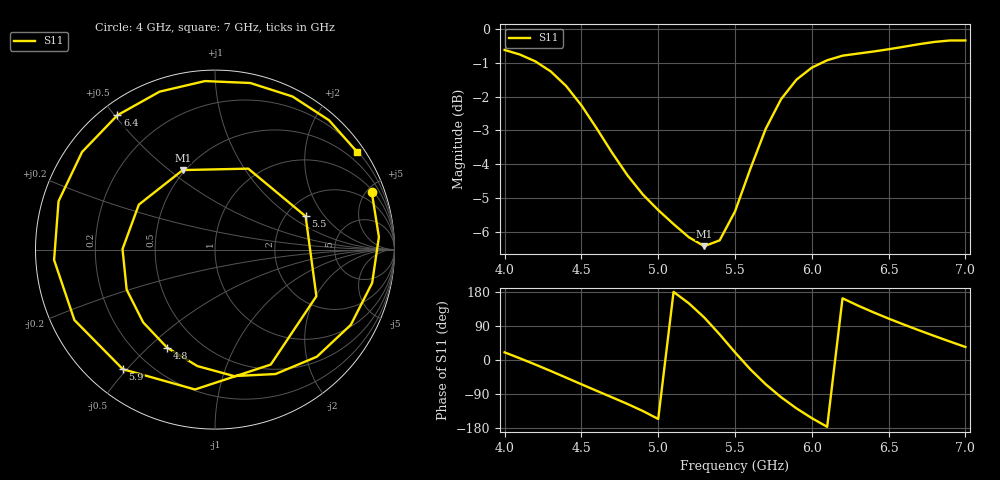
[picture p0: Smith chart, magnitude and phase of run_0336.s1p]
! Touchstone file exported from HFSS 2024.2.0
!  File:  C:/Users/wsak9/Desktop/Sim Fast/Widenad Patch/WP_AI_V1_sweep.aedt
!  Generated:  05:14:31 AM Oct 14, 2026
!  Design:  A1_model
!  Project:  WP_AI_V1_sweep
!  Setup:  Setup1
!  Solution:  Sweep
! Variables:
!  Air_gap = 3.52mm
!  Curve_Amp1 = 0.9
!  Curve_len1 = 1
!  Curve_pos = 11.185mm
!  Extra = 4.05mm
!  H_sub = 0.79mm
!  L_Patch = 18.37mm
!  L_Patch1 = 19.78mm
!  Sx = 3.25mm
!  Sy = 4.71mm
!  WS = 1.34mm
!  W_Patch = 17.28mm
!  W_Patch1 = 15.73mm
!Data is not renormalized
# GHz S MA
! Terminal data exported
! Port[1] = 1
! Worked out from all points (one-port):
!   31 points, 4 GHz to 7 GHz, reference per port
!   lowest |S11| = -6.4 dB at 5.3 GHz (marker M1), VSWR 2.83
!   |S11| at or under -10 dB: nowhere
!   S11 on the Smith chart (normalised r, x): 4 GHz: 1.13, +5.39; 4.8 GHz: 0.33, -0.57; 5.5 GHz: 2.54, +1.33; 5.9 GHz: 0.11, -0.49; 6.4 GHz: 0.05, +0.51; 7 GHz: 0.23, +3.22
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4  0.9303 20.2
4.1  0.9159 4.4
4.2  0.895 -12.0
4.3  0.8651 -29.0
4.4  0.8236 -46.4
4.5  0.771 -64.0
4.6  0.7127 -81.4
4.8  0.608 -116.0
5  0.5405 -155.6
5.1  0.5153 179.7
5.2  0.4927 149.4
5.3  0.4781 112.1
5.4  0.4876 67.7
5.5  0.5379 20.2
5.6  0.6217 -24.7
5.7  0.7119 -64.1
5.8  0.7872 -98.1
5.9  0.8411 -127.6
6  0.8761 -153.4
6.1  0.8983 -176.3
6.2  0.9124 162.8
6.3  0.9189 143.7
6.4  0.9253 126.0
6.5  0.9325 109.3
6.6  0.9406 93.4
6.7  0.9489 78.0
6.8  0.9561 63.1
7  0.9608 34.4
